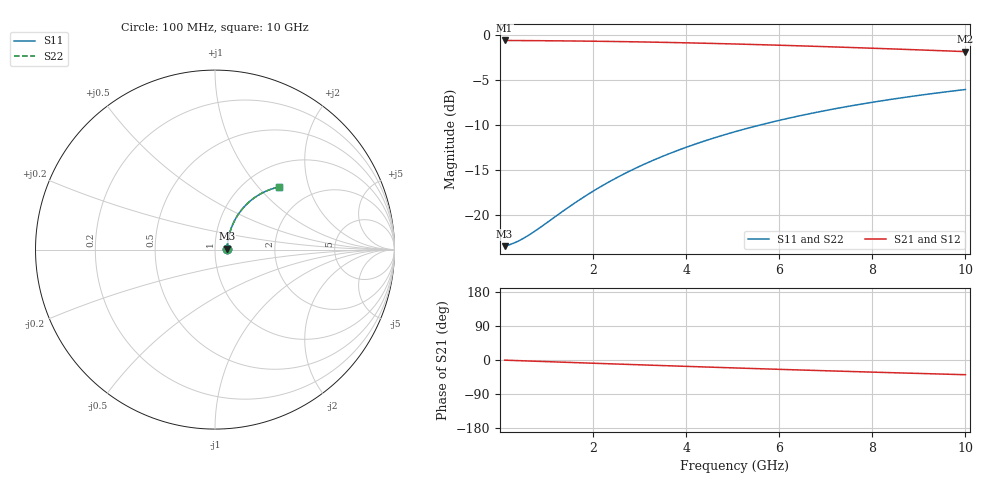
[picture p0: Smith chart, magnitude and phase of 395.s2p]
# Hz S RI R 50.00
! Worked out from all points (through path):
!   100 points, 100 MHz to 10 GHz, reference 50 ohm
!   highest |S21| = -0.60 dB at 100 MHz (marker M1); lowest = -1.8 dB at 10 GHz (marker M2)
!   group delay of S21, straight-line fit = 10.8 ps
!   lowest |S11| = -23.4 dB at 100 MHz (marker M3), VSWR 1.14, Z = 57.2 + j0.621 ohm
!   |S11| at or under -10 dB: start of sweep to 5.582 GHz
!   |S22| runs from -23.4 to -6.1 dB; largest |S21 - S12| = 0
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1e8  0.0671 0.00541  0.9329 -0.00697  0.9329 -0.00697  0.0671 0.00541
3e8  0.0681 0.0162  0.9319 -0.0209  0.9319 -0.0209  0.0681 0.0162
4e8  0.0686 0.0216  0.9314 -0.0278  0.9314 -0.0278  0.0686 0.0216
6e8  0.0698 0.0323  0.9301 -0.0416  0.9301 -0.0416  0.0698 0.0323
8e8  0.0712 0.0429  0.9287 -0.0554  0.9287 -0.0554  0.0712 0.0429
1.5e9  0.0784 0.0797  0.9213 -0.1032  0.9213 -0.1032  0.0784 0.0797
1.8e9  0.0826 0.0952  0.917 -0.1233  0.917 -0.1233  0.0826 0.0952
2.2e9  0.0891 0.1154  0.9103 -0.1497  0.9103 -0.1497  0.0891 0.1154
2.6e9  0.0967 0.135  0.9024 -0.1756  0.9024 -0.1756  0.0967 0.135
3e9  0.1054 0.154  0.8935 -0.2009  0.8935 -0.2009  0.1054 0.154
3.4e9  0.115 0.1724  0.8835 -0.2256  0.8835 -0.2256  0.115 0.1724
3.8e9  0.1256 0.19  0.8725 -0.2495  0.8725 -0.2495  0.1256 0.19
4.2e9  0.1371 0.2069  0.8606 -0.2726  0.8606 -0.2726  0.1371 0.2069
4.6e9  0.1494 0.2229  0.8479 -0.2949  0.8479 -0.2949  0.1494 0.2229
5.1e9  0.1657 0.2416  0.831 -0.3216  0.831 -0.3216  0.1657 0.2416
5.5e9  0.1795 0.2556  0.8166 -0.3419  0.8166 -0.3419  0.1795 0.2556
5.9e9  0.1938 0.2687  0.8017 -0.3612  0.8017 -0.3612  0.1938 0.2687
6.7e9  0.2239 0.2919  0.7703 -0.3972  0.7703 -0.3972  0.2239 0.2919
7.5e9  0.2552 0.3113  0.7375 -0.4293  0.7375 -0.4293  0.2552 0.3113
8.4e9  0.2914 0.3286  0.6994 -0.4611  0.6994 -0.4611  0.2914 0.3286
9.2e9  0.3239 0.3402  0.665 -0.4856  0.665 -0.4856  0.3239 0.3402
1e10  0.3563 0.3484  0.6306 -0.5068  0.6306 -0.5068  0.3563 0.3484
